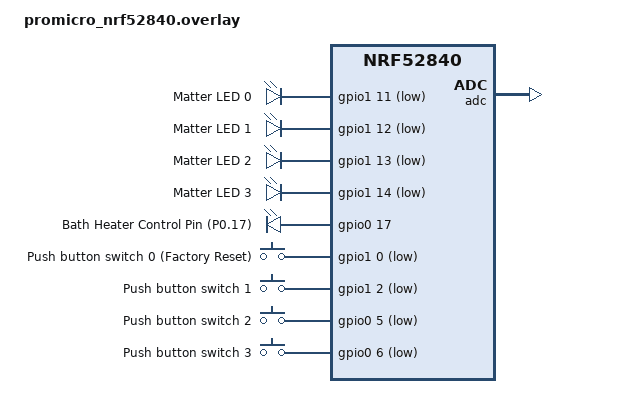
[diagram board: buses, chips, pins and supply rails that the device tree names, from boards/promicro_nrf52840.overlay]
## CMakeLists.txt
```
#
# Copyright (c) 2021 Nordic Semiconductor ASA
#
# SPDX-License-Identifier: LicenseRef-Nordic-5-Clause
#

cmake_minimum_required(VERSION 3.20.0)

find_package(Zephyr HINTS $ENV{ZEPHYR_BASE})

project(matter-light-switch)

# Enable GNU STD support.
include(${ZEPHYR_CONNECTEDHOMEIP_MODULE_DIR}/config/nrfconnect/app/enable-gnu-std.cmake)

# NORDIC SDK APP START

# Include all source files that are located in the Matter common directory.
include(${ZEPHYR_NRF_MODULE_DIR}/samples/matter/common/cmake/source_common.cmake)

# Include Data Model utils
include(${ZEPHYR_NRF_MODULE_DIR}/samples/matter/common/cmake/data_model.cmake)

include(${ZEPHYR_NRF_MODULE_DIR}/samples/matter/common/cmake/zap_helpers.cmake)
ncs_get_zap_parent_dir(ZAP_PARENT_DIR)

target_include_directories(app PRIVATE
  src
  ${ZAP_PARENT_DIR}
)

target_compile_options(app PRIVATE -Wno-deprecated-declarations)

target_sources(app PRIVATE
  src/app_task.cpp
  src/main.cpp
  src/zcl_callbacks.cpp
  ${CHIP_ROOT}/src/app/persistence/DeferredAttributePersistenceProvider.cpp
)

ncs_configure_data_model()
# NORDIC SDK APP END
```

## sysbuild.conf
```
#
# Copyright (c) 2024 Nordic Semiconductor
#
# SPDX-License-Identifier: LicenseRef-Nordic-5-Clause
#

SB_CONFIG_MATTER=y
SB_CONFIG_MATTER_FACTORY_DATA_GENERATE=n
SB_CONFIG_BOOTLOADER_MCUBOOT=n
```

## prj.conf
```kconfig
#
# Copyright (c) 2021 Nordic Semiconductor ASA
#
# SPDX-License-Identifier: LicenseRef-Nordic-5-Clause
#

# Enable CHIP
CONFIG_CHIP=y
CONFIG_CHIP_PROJECT_CONFIG="src/chip_project_config.h"
CONFIG_CHIP_DEVICE_PRODUCT_NAME="Matter Light Switch"

# Configure ZAP file name
CONFIG_NCS_SAMPLE_MATTER_ZAP_FILE_PATH="${APPLICATION_CONFIG_DIR}/src/default_zap/light_bulb.zap"

# 32772 == 0x8004 (example light-switch-app)
CONFIG_CHIP_DEVICE_PRODUCT_ID=32772
CONFIG_STD_CPP17=y

# Enable Matter pairing automatically on application start.
CONFIG_CHIP_ENABLE_PAIRING_AUTOSTART=y

# Enable Matter extended announcement and increase duration to 1 hour.
CONFIG_CHIP_BLE_EXT_ADVERTISING=y
CONFIG_CHIP_BLE_ADVERTISING_DURATION=60

# Add support for LEDs and buttons on Nordic development kits
CONFIG_DK_LIBRARY=y

# Bluetooth Low Energy configuration
CONFIG_BT_DEVICE_NAME="MatterSwitch"

# Suspend devices when the CPU goes into sleep
CONFIG_PM_DEVICE=y

# Other settings
CONFIG_THREAD_NAME=y
CONFIG_MPU_STACK_GUARD=y
CONFIG_RESET_ON_FATAL_ERROR=n
CONFIG_CHIP_LIB_SHELL=y
CONFIG_NCS_SAMPLE_MATTER_TEST_SHELL=y

# Reduce application size
CONFIG_USE_SEGGER_RTT=n

# Enable Factory Data feature
CONFIG_CHIP_FACTORY_DATA=n
CONFIG_CHIP_FACTORY_DATA_BUILD=n

# Disable MCUboot as user has custom bootloader
CONFIG_BOOTLOADER_MCUBOOT=n
CONFIG_DFU_TARGET_MCUBOOT=n
CONFIG_DFU_TARGET=n
CONFIG_CHIP_OTA_REQUESTOR=n
CONFIG_IMG_MANAGER=n
CONFIG_MCUBOOT_IMG_MANAGER=n

# Select NONE bootloader to avoid pulling in MCUboot dependencies
CONFIG_CHIP_BOOTLOADER_NONE=y

# Use flash offset from device tree code-partition (0x26000 for Adafruit Bootloader + S140 v6)
CONFIG_USE_DT_CODE_PARTITION=y

# Disable NFC (Pins used as GPIOs on ProMicro)
CONFIG_CHIP_NFC_ONBOARDING_PAYLOAD=n
CONFIG_NFC_T2T_NRFXLIB=n
CONFIG_NFC_NDEF=n
CONFIG_NFC_NDEF_MSG=n
CONFIG_NFC_NDEF_RECORD=n
CONFIG_NFC_NDEF_URI_REC=n
CONFIG_NFC_NDEF_URI_MSG=n

# ADC for bath heater sensing (analog voltage detection 2.5V/3.3V)
CONFIG_ADC=y
```

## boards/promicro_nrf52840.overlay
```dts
/*
 * Flash partition layout for Adafruit Bootloader + SoftDevice S140 v6.1.1
 *
 * 0x00000 - 0x26000  : SoftDevice S140 v6.1.1 (including MBR)
 * 0x26000 - 0xEC000  : Application (792 KB)
 * 0xEC000 - 0xF4000  : Storage / NVS (32 KB)
 * 0xF4000 - 0x100000 : Adafruit Bootloader (48 KB)
 */

/ {
	chosen {
		zephyr,code-partition = &slot0_partition;
	};

	aliases {
		sw0 = &button0;
		sw1 = &button1;
		sw2 = &button2;
		sw3 = &button3;
		led0 = &led_0;
		led1 = &led_1;
		led2 = &led_2;
		led3 = &led_3;
		ctrl1  = &ctrl_pin_1;
	};

	leds {
		compatible = "gpio-leds";
		led_0: led_0 {
			gpios = <&gpio1 11 GPIO_ACTIVE_LOW>;
			label = "Matter LED 0";
		};
		led_1: led_1 {
			gpios = <&gpio1 12 GPIO_ACTIVE_LOW>;
			label = "Matter LED 1";
		};
		led_2: led_2 {
			gpios = <&gpio1 13 GPIO_ACTIVE_LOW>;
			label = "Matter LED 2";
		};
		led_3: led_3 {
			gpios = <&gpio1 14 GPIO_ACTIVE_LOW>;
			label = "Matter LED 3";
		};
		ctrl_pin_1: ctrl_pin_1 {
			gpios = <&gpio0 17 GPIO_ACTIVE_HIGH>;
			label = "Bath Heater Control Pin (P0.17)";
		};
	};

	/* P0.02 used as ADC analog input (AIN0) — do NOT configure as GPIO */

	buttons {
		compatible = "gpio-keys";
		button0: button_0 {
			/* Factory Reset / BLE Adv — moved to P1.00 (not exposed) to prevent accidental trigger */
			gpios = <&gpio1 0 (GPIO_PULL_UP | GPIO_ACTIVE_LOW)>;
			label = "Push button switch 0 (Factory Reset)";
		};
		button1: button_1 {
			gpios = <&gpio1 2 (GPIO_PULL_UP | GPIO_ACTIVE_LOW)>;
			label = "Push button switch 1";
		};
		button2: button_2 {
			gpios = <&gpio0 5 (GPIO_PULL_UP | GPIO_ACTIVE_LOW)>;
			label = "Push button switch 2";
		};
		button3: button_3 {
			gpios = <&gpio0 6 (GPIO_PULL_UP | GPIO_ACTIVE_LOW)>;
			label = "Push button switch 3";
		};
	};
};

/* Delete default partitions from nrf52840_partition.dtsi */
&flash0 {
	/delete-node/ partitions;
};

/* Re-define partitions for Adafruit Bootloader + S140 v6.1.1 */
&flash0 {
	partitions {
		compatible = "fixed-partitions";
		#address-cells = <1>;
		#size-cells = <1>;

		/* SoftDevice S140 v6.1.1 (includes MBR at 0x0) */
		boot_partition: partition@0 {
			label = "softdevice";
			reg = <0x0 0x26000>;
		};

		/* Application */
		slot0_partition: partition@26000 {
			label = "image-0";
			reg = <0x26000 0xC6000>;
		};

		/* Storage / NVS */
		storage_partition: partition@ec000 {
			label = "storage";
			reg = <0xEC000 0x8000>;
		};

		/* Adafruit Bootloader */
		partition@f4000 {
			label = "adafruit_boot";
			reg = <0xF4000 0xC000>;
		};
	};
};

/* Enable ADC for bath heater sensing (P0.02 = AIN0) */
&adc {
	status = "okay";
};
```

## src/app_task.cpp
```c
/*
 * Copyright (c) 2021 Nordic Semiconductor ASA
 *
 * SPDX-License-Identifier: LicenseRef-Nordic-5-Clause
 */

#include "app_task.h"
#include "app/matter_init.h"
#include "app/task_executor.h"
#include "clusters/identify.h"

#include <app-common/zap-generated/attributes/Accessors.h>
#include <app/persistence/AttributePersistenceProviderInstance.h>
#include <app/persistence/DefaultAttributePersistenceProvider.h>
#include <app/persistence/DeferredAttributePersistenceProvider.h>
#include <app/server/Server.h>
#include <setup_payload/OnboardingCodesUtil.h>

#include <hal/nrf_saadc.h>

#include <zephyr/logging/log.h>

LOG_MODULE_DECLARE(app, CONFIG_CHIP_APP_LOG_LEVEL);

using namespace ::chip;
using namespace ::chip::app;
using namespace ::chip::DeviceLayer;
using namespace ::chip::app::Clusters;

namespace
{
constexpr EndpointId kLightEndpointId = 1;

Nrf::Matter::IdentifyCluster sIdentifyCluster(kLightEndpointId, true, []() {
	Nrf::PostTask([] { Nrf::GetBoard().GetLED(Nrf::DeviceLeds::LED2).Set(false); });
});

/* We will persist OnOff state across reboots if necessary, although physical sensing is better. */
DefaultAttributePersistenceProvider gSimpleAttributePersistence;

} /* namespace */

void AppTask::UpdateClusterState()
{
	/* Handled by polling logic in SensingPollHandler */
}

void AppTask::SensingPollHandler(struct k_work *work)
{
	AppTask &task = Instance();

	if (!device_is_ready(task.mAdcDev)) {
		LOG_ERR("ADC device not ready in poll handler!");
		k_work_reschedule(&task.mSenseWork, K_MSEC(500));
		return;
	}

	/* ADC read: 12-bit, gain 1/6, internal 0.6V ref → 3.6V range
	 * 8x hardware oversampling to reduce noise */
	struct adc_sequence sequence = {
		.channels = BIT(kAdcChannelId),
		.buffer = &task.mAdcBuffer,
		.buffer_size = sizeof(task.mAdcBuffer),
		.resolution = 12,
		.oversampling = 3,  /* 2^3 = 8x hardware oversampling */
		.calibrate = !task.mAdcCalibrated,
	};

	int err = adc_read(task.mAdcDev, &sequence);
	if (err) {
		LOG_ERR("ADC read failed: %d", err);
		k_work_reschedule(&task.mSenseWork, K_MSEC(100));
		return;
	}

	int16_t adcVal = task.mAdcBuffer;
	task.mAdcCalibrated = true;
	task.mPollCount++;

	/* Reject clearly invalid values (SAADC errata #89: incorrect sign) */
	if (adcVal < 0 || adcVal > 4095) {
		task.mInvalidCount++;
		if ((task.mInvalidCount % 50) == 1) {
			LOG_WRN("ADC INVALID: val=%d count=%u", adcVal, task.mInvalidCount);
		}
		k_work_reschedule(&task.mSenseWork, K_MSEC(100));
		return;
	}

	/* EMA smoothing: alpha=0.25 */
	if (!task.mEmaInitialized) {
		task.mEmaValue = adcVal;
		task.mEmaInitialized = true;
	} else {
		task.mEmaValue = (task.mEmaValue * 3 + adcVal) / 4;
	}

	/* Warmup: let EMA stabilize (first 10 samples = 1 second) */
	if (task.mWarmupCount < 10) {
		task.mWarmupCount++;
		int mv = (adcVal * 3600) / 4096;
		int emv = (task.mEmaValue * 3600) / 4096;
		LOG_INF("Warmup[%u]: adc=%d (%dmV) ema=%d (%dmV)",
			task.mWarmupCount, adcVal, mv, task.mEmaValue, emv);

		if (task.mWarmupCount == 10) {
			task.mVotedIsOn = (task.mEmaValue <= kThresholdEnterOn);
			LOG_INF("*** Warmup complete: ema=%d -> initial state=%s",
				task.mEmaValue, task.mVotedIsOn ? "ON" : "OFF");

			Nrf::PostTask([isOn = task.mVotedIsOn] {
				Nrf::GetBoard().GetLED(Nrf::DeviceLeds::LED2).Set(isOn);
			});

			bool isOn = task.mVotedIsOn;
			SystemLayer().ScheduleLambda([isOn] {
				OnOff::Attributes::OnOff::Set(kLightEndpointId, isOn);
				LOG_INF("Matter OnOff initialized: %s", isOn ? "ON" : "OFF");
			});
		}
		k_work_reschedule(&task.mSenseWork, K_MSEC(100));
		return;
	}

	/* Hysteresis Detection:
	 *   ON  ≈ 2.48V → ADC ≈ 2821
	 *   OFF ≈ 3.20V → ADC ≈ 3641
	 *   Midpoint ≈ 3231
	 *
	 * Currently OFF → ON  when EMA <= 3100 (~2.72V)
	 * Currently ON  → OFF when EMA >  3400 (~2.99V)
	 * Dead band 3100–3400 */
	bool prevState = task.mVotedIsOn;

	if (task.mVotedIsOn) {
		if (task.mEmaValue > kThresholdExitOn) {
			task.mVotedIsOn = false;
		}
	} else {
		if (task.mEmaValue <= kThresholdEnterOn) {
			task.mVotedIsOn = true;
		}
	}

	if (prevState != task.mVotedIsOn) {
		int emv = (task.mEmaValue * 3600) / 4096;
		LOG_INF("*** STATE CHANGE: %s -> %s (ema=%d =%dmV adc=%d)",
			prevState ? "ON" : "OFF", task.mVotedIsOn ? "ON" : "OFF",
			task.mEmaValue, emv, adcVal);

		Nrf::PostTask([isOn = task.mVotedIsOn] {
			Nrf::GetBoard().GetLED(Nrf::DeviceLeds::LED2).Set(isOn);
		});

		if (!task.mIsPulsing) {
			bool isOn = task.mVotedIsOn;
			SystemLayer().ScheduleLambda([isOn] {
				bool currentState = false;
				OnOff::Attributes::OnOff::Get(kLightEndpointId, &currentState);
				if (currentState != isOn) {
					OnOff::Attributes::OnOff::Set(kLightEndpointId, isOn);
					LOG_INF("Matter OnOff synced: %s", isOn ? "ON" : "OFF");
				}
			});
		}
	}

	/* Periodic logging */
	bool shouldLog = (task.mPollCount <= 30) || ((task.mPollCount % 10) == 0);
	if (shouldLog) {
		int val_mv = (adcVal * 3600) / 4096;
		int ema_mv = (task.mEmaValue * 3600) / 4096;
		LOG_INF("ADC[%u]: val=%d (%dmV) ema=%d (%dmV) state=%s",
			task.mPollCount, adcVal, val_mv, task.mEmaValue, ema_mv,
			task.mVotedIsOn ? "ON" : "OFF");
	}

	k_work_reschedule(&task.mSenseWork, K_MSEC(100));
}

void AppTask::ControlPulseHandler(struct k_work *work)
{
	AppTask &task = Instance();
	/* Restore control pin to INPUT (Hi-Z) after pulse */
	gpio_pin_configure_dt(&task.mCtrlPin, GPIO_INPUT);
	task.mIsPulsing = false;
	LOG_INF("Control Pulse finished, ctrl pin restored to Hi-Z.");
}

void AppTask::InitiateAction(bool actionOn)
{
	LOG_INF("Remote Action requested: %s (Pulse)", actionOn ? "ON" : "OFF");

	mIsPulsing = true;
	/* Pre-set the EMA and voted state to the target to prevent lag-revert */
	mVotedIsOn = actionOn;

	/* Toggle pulse: pull control pin LOW for 300ms */
	gpio_pin_configure_dt(&mCtrlPin, GPIO_OUTPUT_LOW);
	LOG_INF("Control Pin (P0.17) pulled LOW for %s (Pulse start)", actionOn ? "ON" : "OFF");

	/* Schedule release after 300ms */
	k_work_reschedule(&mPulseWork, K_MSEC(300));
}

CHIP_ERROR AppTask::Init()
{
	/* Initialize Matter stack */
	ReturnErrorOnFailure(Nrf::Matter::PrepareServer(Nrf::Matter::InitData{ .mPostServerInitClbk = []() {
		gSimpleAttributePersistence.Init(Nrf::Matter::GetPersistentStorageDelegate());
		return CHIP_NO_ERROR;
	} }));

	if (!Nrf::GetBoard().Init(ButtonEventHandler)) {
		LOG_ERR("User interface initialization failed.");
		return CHIP_ERROR_INCORRECT_STATE;
	}

	/* Register Matter event handler */
	ReturnErrorOnFailure(Nrf::Matter::RegisterEventHandler(Nrf::Board::DefaultMatterEventHandler, 0));
	ReturnErrorOnFailure(sIdentifyCluster.Init());

	// Initialize control pin (P0.17)
	mCtrlPin = GPIO_DT_SPEC_GET(DT_NODELABEL(ctrl_pin_1), gpios);

	mVotedIsOn = false;
	mIsPulsing = false;
	mAdcCalibrated = false;
	mEmaValue = 0;
	mEmaInitialized = false;
	mWarmupCount = 0;
	mPollCount = 0;
	mInvalidCount = 0;

	if (gpio_is_ready_dt(&mCtrlPin)) {
		gpio_pin_configure_dt(&mCtrlPin, GPIO_INPUT);
		LOG_INF("Control Pin (P0.17) initialized in Hi-Z.");
	} else {
		LOG_ERR("Control Pin NOT READY.");
	}

	/* Initialize ADC for bath heater sensing on AIN6 (P0.30, board silkscreen '031') */
	mAdcDev = DEVICE_DT_GET(DT_NODELABEL(adc));
	if (!device_is_ready(mAdcDev)) {
		LOG_ERR("ADC device not ready!");
		return CHIP_ERROR_INTERNAL;
	}

	mAdcChannelCfg = {};
	mAdcChannelCfg.gain = ADC_GAIN_1_6;
	mAdcChannelCfg.reference = ADC_REF_INTERNAL;
	mAdcChannelCfg.acquisition_time = ADC_ACQ_TIME(ADC_ACQ_TIME_MICROSECONDS, 40);
	mAdcChannelCfg.channel_id = kAdcChannelId;
	mAdcChannelCfg.input_positive = SAADC_CH_PSELP_PSELP_AnalogInput6; // P0.30 (silkscreen 031)

	int ret = adc_channel_setup(mAdcDev, &mAdcChannelCfg);
	if (ret < 0) {
		LOG_ERR("ADC channel setup failed: %d", ret);
		return CHIP_ERROR_INTERNAL;
	}
	LOG_INF("ADC sensing on AIN6 (P0.30 / silkscreen 031), enter=%d exit=%d",
		(int)kThresholdEnterOn, (int)kThresholdExitOn);

	/* Initialize work items */
	k_work_init_delayable(&mPulseWork, ControlPulseHandler);
	k_work_init_delayable(&mSenseWork, SensingPollHandler);

	/* Start the polling loop immediately */
	k_work_schedule(&mSenseWork, K_NO_WAIT);

	return Nrf::Matter::StartServer();
}

CHIP_ERROR AppTask::StartApp()
{
	ReturnErrorOnFailure(Init());

	while (true) {
		Nrf::DispatchNextTask();
	}
	return CHIP_NO_ERROR;
}

void AppTask::ButtonEventHandler(Nrf::ButtonState state, Nrf::ButtonMask hasChanged)
{
	if ((DK_BTN2_MSK & hasChanged) & state) {
		SystemLayer().ScheduleLambda([] {
			bool currentState = false;
			OnOff::Attributes::OnOff::Get(kLightEndpointId, &currentState);
			Instance().InitiateAction(!currentState);
		});
	}
}
```

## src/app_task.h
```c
/*
 * Copyright (c) 2021 Nordic Semiconductor ASA
 *
 * SPDX-License-Identifier: LicenseRef-Nordic-5-Clause
 */

#pragma once

#include "board/board.h"
#include <platform/CHIPDeviceLayer.h>
#include <zephyr/drivers/gpio.h>
#include <zephyr/drivers/adc.h>
#include <zephyr/kernel.h>
struct Identify;

class AppTask {
public:
	static AppTask &Instance()
	{
		static AppTask sAppTask;
		return sAppTask;
	};

	CHIP_ERROR StartApp();
	void UpdateClusterState();

	// Called from ZCL callback when remote command (Home App) changes the OnOff attribute
	void InitiateAction(bool actionOn);
	bool GetVotedIsOn() { return mVotedIsOn; }

private:
	CHIP_ERROR Init();

	// Handlers
	static void ButtonEventHandler(Nrf::ButtonState state, Nrf::ButtonMask hasChanged);
	static void ControlPulseHandler(struct k_work *work);
	static void PostEventTask(void *event);

	// Zephyr GPIO configurations for Bath Heater
	struct gpio_dt_spec mCtrlPin;     // P0.17 — control pin (ON/OFF toggle pulse)

	// ADC sensing for bath heater status detection (P0.02 = AIN0)
	const struct device *mAdcDev;
	struct adc_channel_cfg mAdcChannelCfg;
	int16_t mAdcBuffer;               // ADC sample buffer
	bool mAdcCalibrated;              // Whether SAADC offset has been calibrated
	static constexpr uint8_t kAdcChannelId = 6;  // AIN6 = P0.30 (board silkscreen '031')

	/* Hysteresis thresholds:
	 *   ON ≈ 2.48V → ADC ≈ 2821
	 *   OFF ≈ 3.20V → ADC ≈ 3641
	 *   Midpoint ≈ 3231
	 *
	 * Enter ON:  EMA must drop below 3100 (~2.72V)
	 * Exit ON:   EMA must rise above 3400 (~2.99V)
	 * Dead band: 3100–3400 (no transitions in this zone)
	 */
	static constexpr int32_t kThresholdEnterOn = 3100;
	static constexpr int32_t kThresholdExitOn  = 3400;

	// Exponential Moving Average for smoothed ADC reading
	int32_t mEmaValue;
	bool mEmaInitialized;
	uint16_t mWarmupCount;            // Samples to skip before detection starts

	struct k_work_delayable mPulseWork;
	struct k_work_delayable mSenseWork;
	bool mVotedIsOn;
	bool mIsPulsing;
	uint32_t mPollCount;              // Counter for periodic debug logging
	uint32_t mInvalidCount;           // Counter for invalid ADC readings (errata/glitch)

	static void SensingPollHandler(struct k_work *work);
};
```

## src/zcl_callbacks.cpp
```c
/*
 * Copyright (c) 2021 Nordic Semiconductor ASA
 *
 * SPDX-License-Identifier: LicenseRef-Nordic-5-Clause
 */

#include <lib/support/logging/CHIPLogging.h>

#include "app_task.h"

#include <app-common/zap-generated/attributes/Accessors.h>
#include <app-common/zap-generated/ids/Attributes.h>
#include <app-common/zap-generated/ids/Clusters.h>
#include <app/ConcreteAttributePath.h>

using namespace ::chip;
using namespace ::chip::app::Clusters;
using namespace ::chip::app::Clusters::OnOff;

void MatterPostAttributeChangeCallback(const chip::app::ConcreteAttributePath &attributePath, uint8_t type,
				       uint16_t size, uint8_t *value)
{
	ClusterId clusterId = attributePath.mClusterId;
	AttributeId attributeId = attributePath.mAttributeId;

	if (clusterId == OnOff::Id && attributeId == OnOff::Attributes::OnOff::Id) {
		ChipLogProgress(Zcl, "Cluster OnOff: attribute OnOff set to %" PRIu8 "", *value);
		
		bool targetState = (*value != 0);
		bool sensedState = AppTask::Instance().GetVotedIsOn();

		// Feedback Loop Prevention:
		// Only trigger physical pulse if the target state differs from what we already sense.
		if (targetState != sensedState) {
			AppTask::Instance().InitiateAction(targetState);
		} else {
			ChipLogProgress(Zcl, "OnOff state already matches physical sense (%s). Skipping redundant pulse.", targetState ? "ON" : "OFF");
		}
	}
}

/** @brief OnOff Cluster Init
 *
 * This function is called when a specific cluster is initialized.
 */
void emberAfOnOffClusterInitCallback(EndpointId endpoint)
{
	Protocols::InteractionModel::Status status;
	bool storedValue;

	/* Read storedValue on/off value */
	status = Attributes::OnOff::Get(endpoint, &storedValue);

	// AppTask::Init() used to sync with Sense Pin, but it's now removed for blind control.
}

namespace chip {
namespace app {
namespace Clusters {
namespace LevelControl {
enum class Feature : uint32_t;
}
}
}
}

bool LevelControlHasFeature(chip::EndpointId endpoint, chip::app::Clusters::LevelControl::Feature feature)
{
    return false;
}

void emberAfOnOffClusterLevelControlEffectCallback(chip::EndpointId endpoint, bool newValue)
{
}

void MatterLevelControlPluginServerInitCallback()
{
}

#include <app/CommandHandler.h>
#include <app-common/zap-generated/cluster-objects.h>

bool emberAfLevelControlClusterMoveToLevelCallback(chip::app::CommandHandler* commandObj, const chip::app::ConcreteCommandPath& commandPath, const chip::app::Clusters::LevelControl::Commands::MoveToLevel::DecodableType& commandData) { return false; }
bool emberAfLevelControlClusterMoveCallback(chip::app::CommandHandler* commandObj, const chip::app::ConcreteCommandPath& commandPath, const chip::app::Clusters::LevelControl::Commands::Move::DecodableType& commandData) { return false; }
bool emberAfLevelControlClusterStepCallback(chip::app::CommandHandler* commandObj, const chip::app::ConcreteCommandPath& commandPath, const chip::app::Clusters::LevelControl::Commands::Step::DecodableType& commandData) { return false; }
bool emberAfLevelControlClusterStopCallback(chip::app::CommandHandler* commandObj, const chip::app::ConcreteCommandPath& commandPath, const chip::app::Clusters::LevelControl::Commands::Stop::DecodableType& commandData) { return false; }
bool emberAfLevelControlClusterMoveToLevelWithOnOffCallback(chip::app::CommandHandler* commandObj, const chip::app::ConcreteCommandPath& commandPath, const chip::app::Clusters::LevelControl::Commands::MoveToLevelWithOnOff::DecodableType& commandData) { return false; }
bool emberAfLevelControlClusterMoveWithOnOffCallback(chip::app::CommandHandler* commandObj, const chip::app::ConcreteCommandPath& commandPath, const chip::app::Clusters::LevelControl::Commands::MoveWithOnOff::DecodableType& commandData) { return false; }
bool emberAfLevelControlClusterStepWithOnOffCallback(chip::app::CommandHandler* commandObj, const chip::app::ConcreteCommandPath& commandPath, const chip::app::Clusters::LevelControl::Commands::StepWithOnOff::DecodableType& commandData) { return false; }
bool emberAfLevelControlClusterStopWithOnOffCallback(chip::app::CommandHandler* commandObj, const chip::app::ConcreteCommandPath& commandPath, const chip::app::Clusters::LevelControl::Commands::StopWithOnOff::DecodableType& commandData) { return false; }

void emberAfLevelControlClusterServerInitCallback(chip::EndpointId endpoint)
{
}

void MatterLevelControlClusterServerShutdownCallback(chip::EndpointId endpoint)
{
}
```
